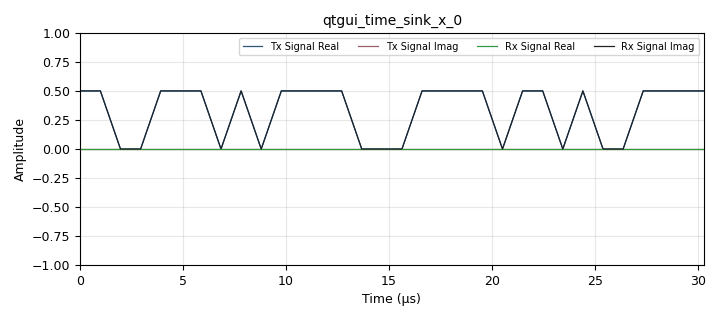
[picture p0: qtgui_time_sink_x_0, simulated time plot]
options:
  parameters:
    generate_options: qt_gui
    id: ece157a_mp1_0
    output_language: python
    title: ece157a_mp1
  states: {}

blocks:
- name: delay
  id: variable_qtgui_range
  parameters:
    orient: Qt.Horizontal
    start: '0'
    step: '1'
    stop: sps*32
    value: '0'
  states: {}
- name: keep_m_in_n_offset
  id: variable_qtgui_range
  parameters:
    orient: Qt.Horizontal
    start: '0'
    step: '1'
    stop: sps
    value: '0'
  states: {state: disabled}
- name: phase
  id: variable_qtgui_entry
  parameters:
    type: real
    value: '90'
  states: {}
- name: samp_rate
  id: variable
  parameters:
    value: 32000*32
  states: {}
- name: sps
  id: variable
  parameters:
    value: '1'
  states: {}
- name: threshold_val
  id: variable_qtgui_entry
  parameters:
    type: real
    value: '0.5'
  states: {state: disabled}
- name: tx_dig_gain
  id: variable_qtgui_entry
  parameters:
    type: real
    value: '0.5'
  states: {}
- name: analog_random_source_x_0
  id: analog_random_source_x
  parameters:
    max: '2'
    min: '0'
    num_samps: '32'
    repeat: 'True'
    type: int
  states: {}
- name: blocks_complex_to_float_0
  id: blocks_complex_to_float
  parameters: {}
  states: {state: disabled}
- name: blocks_delay_0
  id: blocks_delay
  parameters:
    delay: delay
    type: complex
  states: {}
- name: blocks_float_to_complex_0
  id: blocks_float_to_complex
  parameters: {}
  states: {}
- name: blocks_int_to_float_0
  id: blocks_int_to_float
  parameters:
    scale: '1'
  states: {}
- name: blocks_keep_m_in_n_0
  id: blocks_keep_m_in_n
  parameters:
    m: '1'
    n: sps
    offset: keep_m_in_n_offset
    type: float
  states: {state: disabled}
- name: blocks_multiply_const_vxx_0
  id: blocks_multiply_const_vxx
  parameters:
    const: tx_dig_gain
    type: complex
  states: {}
- name: blocks_multiply_const_vxx_0_0
  id: blocks_multiply_const_vxx
  parameters:
    const: np.exp(1j*2*np.pi*phase/360)
    type: complex
  states: {}
- name: blocks_threshold_ff_0
  id: blocks_threshold_ff
  parameters:
    high: threshold_val
    init: '0'
    low: threshold_val
  states: {state: disabled}
- name: blocks_throttle_0
  id: blocks_throttle
  parameters:
    samples_per_second: samp_rate
    type: complex
  states: {}
- name: import_0
  id: import
  parameters:
    imports: import numpy as np
  states: {}
- name: qtgui_time_sink_x_0
  id: qtgui_time_sink_x
  parameters:
    label1: Tx Signal Real
    label2: Tx Signal Imag
    label3: Rx Signal Real
    label4: Rx Signal Imag
    nconnections: '2'
    size: 32*sps
    srate: samp_rate
    type: complex
  states: {}
- name: qtgui_time_sink_x_0_0
  id: qtgui_time_sink_x
  parameters:
    label1: Tx Bits
    label2: Rx Symbols before Thresholding
    label3: Rx Bits
    nconnections: '3'
    size: '32'
    srate: '1'
    type: float
  states: {state: disabled}
- name: virtual_sink_0
  id: virtual_sink
  parameters:
    stream_id: ook_tx_out
  states: {}
- name: virtual_sink_0_0
  id: virtual_sink
  parameters:
    stream_id: ook_rx_in
  states: {}
- name: virtual_sink_0_1
  id: virtual_sink
  parameters:
    stream_id: bits_tx
  states: {state: disabled}
- name: virtual_sink_0_1_0
  id: virtual_sink
  parameters:
    stream_id: bits_rx
  states: {state: disabled}
- name: virtual_source_0
  id: virtual_source
  parameters:
    stream_id: ook_tx_out
  states: {}
- name: virtual_source_0_0
  id: virtual_source
  parameters:
    stream_id: ook_rx_in
  states: {state: disabled}
- name: virtual_source_0_1
  id: virtual_source
  parameters:
    stream_id: ook_tx_out
  states: {}
- name: virtual_source_0_2
  id: virtual_source
  parameters:
    stream_id: bits_tx
  states: {state: disabled}
- name: virtual_source_1
  id: virtual_source
  parameters:
    stream_id: ook_rx_in
  states: {}

connections:
- [analog_random_source_x_0, '0', blocks_int_to_float_0, '0']
- [blocks_complex_to_float_0, '0', blocks_keep_m_in_n_0, '0']
- [blocks_delay_0, '0', virtual_sink_0_0, '0']
- [blocks_float_to_complex_0, '0', blocks_multiply_const_vxx_0, '0']
- [blocks_int_to_float_0, '0', blocks_float_to_complex_0, '0']
- [blocks_int_to_float_0, '0', virtual_sink_0_1, '0']
- [blocks_keep_m_in_n_0, '0', blocks_threshold_ff_0, '0']
- [blocks_keep_m_in_n_0, '0', qtgui_time_sink_x_0_0, '1']
- [blocks_multiply_const_vxx_0, '0', blocks_throttle_0, '0']
- [blocks_multiply_const_vxx_0_0, '0', blocks_delay_0, '0']
- [blocks_threshold_ff_0, '0', qtgui_time_sink_x_0_0, '2']
- [blocks_threshold_ff_0, '0', virtual_sink_0_1_0, '0']
- [blocks_throttle_0, '0', virtual_sink_0, '0']
- [virtual_source_0, '0', blocks_multiply_const_vxx_0_0, '0']
- [virtual_source_0_0, '0', blocks_complex_to_float_0, '0']
- [virtual_source_0_1, '0', qtgui_time_sink_x_0, '0']
- [virtual_source_0_2, '0', qtgui_time_sink_x_0_0, '0']
- [virtual_source_1, '0', qtgui_time_sink_x_0, '1']

metadata:
  file_format: 1
